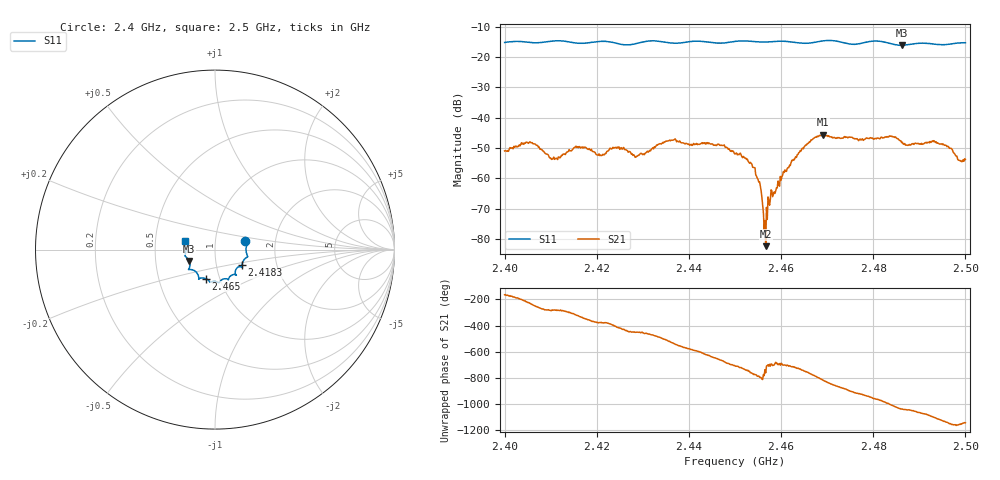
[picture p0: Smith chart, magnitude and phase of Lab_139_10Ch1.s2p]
# Hz S RI R 50
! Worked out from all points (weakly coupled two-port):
!   601 points, 2.4 GHz to 2.5 GHz, reference 50 ohm
!   highest |S21| = -45.63 dB at 2.469 GHz (marker M1); lowest = -82.4 dB at 2.4567 GHz (marker M2)
!   lowest |S11| = -16.1 dB at 2.4862 GHz (marker M3), VSWR 1.37, Z = 37.2 - j4.82 ohm
!   |S11| at or under -10 dB: start of sweep to end of sweep
!   S12 and S22 are empty: the file has one direction only
!   S11 on the Smith chart (normalised r, x): 2.4 GHz: 1.40, +0.14; 2.4183 GHz: 1.33, -0.24; 2.465 GHz: 0.86, -0.28; 2.5 GHz: 0.71, +0.07
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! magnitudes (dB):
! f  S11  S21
! 2.4 GHz  -15.1  -51.0
! 2.4055 GHz  -15.2  -47.9
! 2.4107 GHz  -14.6  -53.0
! 2.4167 GHz  -15.4  -49.8
! 2.4183 GHz  -15.2  -50.2
! 2.4243 GHz  -15.4  -50.0
! 2.4287 GHz  -15.5  -52.7
! 2.4333 GHz  -14.7  -48.8
! 2.444 GHz  -15.0  -48.2
! 2.45 GHz  -14.8  -52.0
! 2.4538 GHz  -14.8  -56.3
! 2.4553 GHz  -15.0  -61.1
! 2.4562 GHz  -15.0  -71.4
! 2.4567 GHz  -15.0  -82.4
! 2.4577 GHz  -14.9  -67.0
! 2.465 GHz  -15.4  -49.6
! 2.4667 GHz  -15.2  -47.3
! 2.469 GHz  -14.6  -45.6
! 2.4833 GHz  -15.3  -46.3
! 2.4862 GHz  -16.1  -48.2
! 2.4932 GHz  -15.7  -47.6
! 2.5 GHz  -15.2  -53.7
